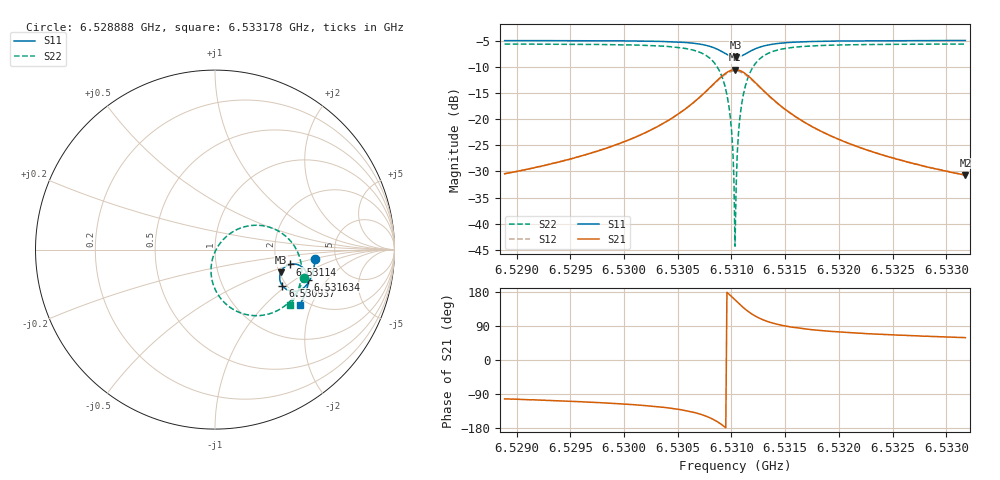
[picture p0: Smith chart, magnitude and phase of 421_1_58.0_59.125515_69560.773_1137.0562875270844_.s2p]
#  HZ  S  RI  R  50.00
! Rohde & Schwarz Vector Network Analyzer
! Rohde-Schwarz,ZNB20-2Port,1311601062101988,3.16
! Created: UTC 3/21/2024, 1:09:08 AM
! freq[Hz]  re:S11  im:S11  re:S21  im:S21  re:S12  im:S12  re:S22  im:S22
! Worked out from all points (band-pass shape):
!   401 points, 6.528888 GHz to 6.533178 GHz, reference 50 ohm
!   highest |S21| = -10.56 dB at 6.531033 GHz (marker M1); lowest = -30.7 dB at 6.533178 GHz (marker M2)
!   |S21| within 3 dB of the highest: 6.53082 GHz to 6.531249 GHz (428.5 kHz wide, 0.00656 % of centre)
!   lowest |S11| = -8.2 dB at 6.531044 GHz (marker M3), VSWR 2.27, Z = 102 - j30.3 ohm
!   |S11| at or under -10 dB: nowhere
!   |S22| runs from -44.3 to -5.7 dB; largest |S21 - S12| = 0.011
!   S11 on the Smith chart (normalised r, x): 6.528888 GHz: 3.47, -0.54; 6.530937 GHz: 1.90, -0.93; 6.53114 GHz: 2.36, -0.48; 6.531634 GHz: 2.71, -1.29; 6.533178 GHz: 1.82, -1.65
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6.528888e9  0.5586 -0.053  -0.00656 -0.0293  -0.0071 -0.0293  0.4966 -0.1559
6.5296066e9  0.5488 -0.1122  -0.0156 -0.0419  -0.0164 -0.0416  0.4672 -0.2217
6.5303252e9  0.5212 -0.1821  -0.0479 -0.0718  -0.0498 -0.0705  0.3887 -0.314
6.5307542e9  0.4526 -0.2318  -0.1517 -0.0976  -0.1541 -0.0918  0.1885 -0.3647
6.5308614e9  0.4092 -0.2272  -0.2191 -0.0728  -0.2186 -0.0638  0.0733 -0.3136
6.5309365e9  0.3753 -0.2012  -0.2693 -0.0168  -0.2641 -0.00734  -0.00356 -0.2114
6.5309902e9  0.3611 -0.1668  -0.2862 0.0485  -0.2775 0.0556  -0.0219 -0.0999
6.5310009e9  0.3605 -0.1588  -0.2861 0.0634  -0.2767 0.0696  -0.0191 -0.0758
6.5310116e9  0.3605 -0.1506  -0.2842 0.0781  -0.2746 0.0835  -0.0141 -0.0516
6.5310223e9  0.3616 -0.1426  -0.2811 0.0929  -0.271 0.0973  -0.00628 -0.0279
6.5310331e9  0.3635 -0.1346  -0.2765 0.1072  -0.2664 0.1109  0.00363 -0.00493
6.5310438e9  0.3662 -0.1266  -0.2703 0.1212  -0.2602 0.1238  0.0157 0.0169
6.5310545e9  0.3698 -0.1194  -0.263 0.1343  -0.253 0.1359  0.03 0.0373
6.5310652e9  0.3742 -0.1124  -0.2544 0.1467  -0.2445 0.1475  0.046 0.0563
6.5310867e9  0.3846 -0.1004  -0.2343 0.1679  -0.2252 0.1673  0.0823 0.0881
6.5311403e9  0.4166 -0.0825  -0.1758 0.1996  -0.1696 0.1968  0.1838 0.1315
6.5312047e9  0.4529 -0.0816  -0.1119 0.2039  -0.1082 0.2008  0.2923 0.1281
6.5313012e9  0.4889 -0.1  -0.049 0.1794  -0.0473 0.1777  0.3959 0.0733
6.5316337e9  0.519 -0.1672  0.0108 0.0992  0.0119 0.0988  0.4817 -0.0933
6.5317516e9  0.5188 -0.1842  0.0149 0.0833  0.0159 0.0832  0.483 -0.1283
6.5324702e9  0.499 -0.2559  0.017 0.0398  0.0179 0.0397  0.4553 -0.2445
6.5331781e9  0.4713 -0.3081  0.0151 0.025  0.0155 0.0248  0.4204 -0.3063
